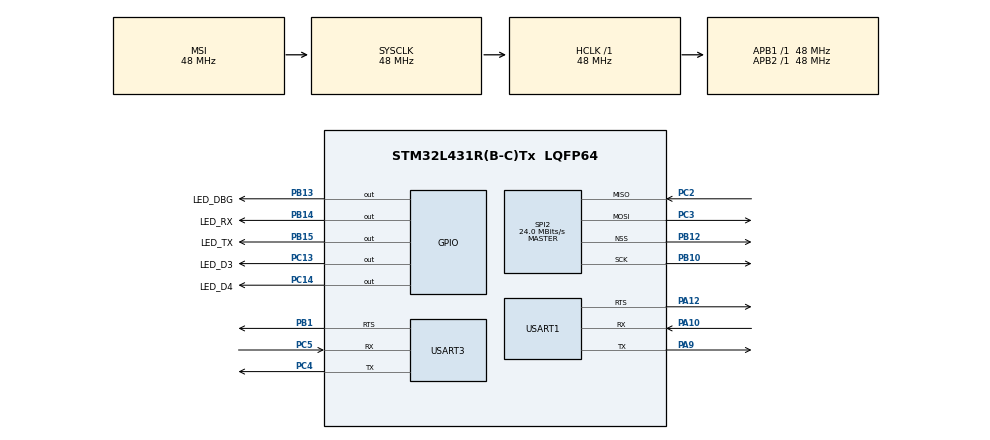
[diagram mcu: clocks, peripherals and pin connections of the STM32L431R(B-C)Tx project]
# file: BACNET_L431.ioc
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Mcu.Family=STM32L4
Mcu.Name=STM32L431R(B-C)Tx
Mcu.Package=LQFP64
NVIC.PriorityGroup=NVIC_PRIORITYGROUP_4
PA10.Mode=Asynchronous
PA10.Signal=USART1_RX
PA12.Mode=RTS_Only
PA12.Signal=USART1_RTS
PA13\ (JTMS-SWDIO).Mode=Serial_Wire
PA13\ (JTMS-SWDIO).Signal=SYS_JTMS-SWDIO
PA14\ (JTCK-SWCLK).Mode=Serial_Wire
PA14\ (JTCK-SWCLK).Signal=SYS_JTCK-SWCLK
PA9.Mode=Asynchronous
PA9.Signal=USART1_TX
PB1.Mode=RTS_Only
PB1.Signal=USART3_RTS
PB10.Mode=Full_Duplex_Master
PB10.Signal=SPI2_SCK
PB12.Mode=NSS_Signal_Hard_Output
PB12.Signal=SPI2_NSS
PB13.GPIO_Label=LED_DBG
PB13.Signal=GPIO_Output
PB14.GPIO_Label=LED_RX
PB14.Signal=GPIO_Output
PB15.GPIO_Label=LED_TX
PB15.Signal=GPIO_Output
PC13.GPIO_Label=LED_D3
PC13.Signal=GPIO_Output
PC14-OSC32_IN\ (PC14).GPIO_Label=LED_D4
PC14-OSC32_IN\ (PC14).Signal=GPIO_Output
PC2.Mode=Full_Duplex_Master
PC2.Signal=SPI2_MISO
PC3.Mode=Full_Duplex_Master
PC3.Signal=SPI2_MOSI
PC4.Mode=Asynchronous
PC4.Signal=USART3_TX
PC5.Mode=Asynchronous
PC5.Signal=USART3_RX
PH0-OSC_IN\ (PH0).Mode=HSE-External-Oscillator
PH0-OSC_IN\ (PH0).Signal=RCC_OSC_IN
PH1-OSC_OUT\ (PH1).Mode=HSE-External-Oscillator
PH1-OSC_OUT\ (PH1).Signal=RCC_OSC_OUT
ProjectManager.HeapSize=0x200
ProjectManager.StackSize=0x400
ProjectManager.TargetToolchain=STM32CubeIDE
RCC.ADCFreq_Value=32000000
RCC.AHBFreq_Value=48000000
RCC.APB1Freq_Value=48000000
RCC.APB1TimFreq_Value=48000000
RCC.APB2Freq_Value=48000000
RCC.APB2TimFreq_Value=48000000
RCC.CortexFreq_Value=48000000
RCC.HCLKFreq_Value=48000000
RCC.HSE_VALUE=8000000
RCC.HSI48_VALUE=48000000
RCC.HSI_VALUE=16000000
RCC.LSE_VALUE=32768
RCC.MSIClockRange=RCC_MSIRANGE_11
RCC.MSI_VALUE=48000000
RCC.PLLSourceVirtual=RCC_PLLSOURCE_HSE
RCC.SYSCLKFreq_VALUE=48000000
RCC.VCOOutputFreq_Value=64000000
SPI2.CalculateBaudRate=24.0 MBits/s
SPI2.Direction=SPI_DIRECTION_2LINES
SPI2.Mode=SPI_MODE_MASTER
SPI2.VirtualNSS=VM_NSSHARD
SPI2.VirtualType=VM_MASTER
USART1.VirtualMode-Asynchronous=VM_ASYNC
USART3.VirtualMode-Asynchronous=VM_ASYNC
board=custom

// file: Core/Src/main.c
/* USER CODE BEGIN Header */
/**
  ******************************************************************************
  * @file           : main.c
  * @brief          : Main program body
  ******************************************************************************
  * @attention
  *
  * <h2><center>&copy; Copyright (c) 2022 STMicroelectronics.
  * All rights reserved.</center></h2>
  *
  * This software component is licensed by ST under BSD 3-Clause license,
  * the "License"; You may not use this file except in compliance with the
  * License. You may obtain a copy of the License at:
  *                        opensource.org/licenses/BSD-3-Clause
  *
  ******************************************************************************
  */
/* USER CODE END Header */
#include "main.h"
#include "spi.h"
#include "usart.h"
#include "gpio.h"

/* USER CODE BEGIN Includes */
#include "bacnet/basic/sys/mstimer.h"
#include "rs485.h"
#include "led.h"
#include "bacnet.h"
/* USER CODE END Includes */

/* USER CODE BEGIN PD */
#define LSE_FAIL_FLAG 0x80
#define LSE_PASS_FLAG 0x100
/* USER CODE END PD */

void SystemClock_Config(void);

int main(void)
{

  /* MCU Configuration--------------------------------------------------------*/

  /* Reset of all peripherals, Initializes the Flash interface and the Systick. */
  HAL_Init();

  /* Configure the system clock */
  SystemClock_Config();

  /* Initialize all configured peripherals */
  MX_GPIO_Init();
  MX_SPI2_Init();
  MX_USART1_UART_Init();
  MX_USART3_UART_Init();
  /* USER CODE BEGIN 2 */
	struct mstimer Blink_Timer;

	mstimer_init();
	//lse_init();
	led_init();
	bacnet_init();
	mstimer_set(&Blink_Timer, 125);
  /* USER CODE END 2 */

  /* Infinite loop */
  /* USER CODE BEGIN WHILE */
	while (1) {
		if (mstimer_expired(&Blink_Timer)) {
			mstimer_reset(&Blink_Timer);
			led_ld3_toggle();
		}
		led_task();
		bacnet_task();
    /* USER CODE END WHILE */

	}
}

void SystemClock_Config(void)
{
  RCC_OscInitTypeDef RCC_OscInitStruct = {0};
  RCC_ClkInitTypeDef RCC_ClkInitStruct = {0};

  /** Configure the main internal regulator output voltage
  */
  if (HAL_PWREx_ControlVoltageScaling(PWR_REGULATOR_VOLTAGE_SCALE1) != HAL_OK)
  {
    Error_Handler();
  }
  /** Initializes the RCC Oscillators according to the specified parameters
  * in the RCC_OscInitTypeDef structure.
  */
  RCC_OscInitStruct.OscillatorType = RCC_OSCILLATORTYPE_MSI;
  RCC_OscInitStruct.MSIState = RCC_MSI_ON;
  RCC_OscInitStruct.MSICalibrationValue = 0;
  RCC_OscInitStruct.MSIClockRange = RCC_MSIRANGE_11;
  RCC_OscInitStruct.PLL.PLLState = RCC_PLL_NONE;
  if (HAL_RCC_OscConfig(&RCC_OscInitStruct) != HAL_OK)
  {
    Error_Handler();
  }
  /** Initializes the CPU, AHB and APB buses clocks
  */
  RCC_ClkInitStruct.ClockType = RCC_CLOCKTYPE_HCLK|RCC_CLOCKTYPE_SYSCLK
                              |RCC_CLOCKTYPE_PCLK1|RCC_CLOCKTYPE_PCLK2;
  RCC_ClkInitStruct.SYSCLKSource = RCC_SYSCLKSOURCE_MSI;
  RCC_ClkInitStruct.AHBCLKDivider = RCC_SYSCLK_DIV1;
  RCC_ClkInitStruct.APB1CLKDivider = RCC_HCLK_DIV1;
  RCC_ClkInitStruct.APB2CLKDivider = RCC_HCLK_DIV1;

  if (HAL_RCC_ClockConfig(&RCC_ClkInitStruct, FLASH_LATENCY_2) != HAL_OK)
  {
    Error_Handler();
  }
}

void Error_Handler(void)
{
  __disable_irq();
  while (1)
  {
  }
}

/************************ (C) COPYRIGHT STMicroelectronics *****END OF FILE****/
